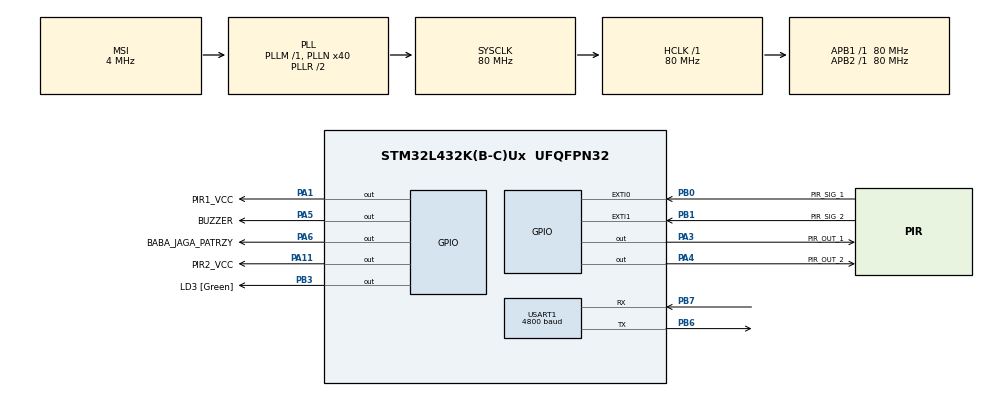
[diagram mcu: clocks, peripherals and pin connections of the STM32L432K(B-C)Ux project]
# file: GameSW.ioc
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Mcu.Family=STM32L4
Mcu.Name=STM32L432K(B-C)Ux
Mcu.Package=UFQFPN32
NVIC.EXTI0_IRQn=true\:0\:0\:false\:false\:true\:true\:true\:true
NVIC.EXTI1_IRQn=true\:0\:0\:false\:false\:true\:true\:true\:true
NVIC.PriorityGroup=NVIC_PRIORITYGROUP_4
NVIC.USART1_IRQn=true\:0\:0\:false\:false\:true\:true\:true\:true
PA0.GPIO_Label=MCO [High speed clock in]
PA0.Mode=HSE-External-Clock-Source-for-LittleOrca
PA0.Signal=RCC_CK_IN
PA1.GPIO_Label=PIR1_VCC
PA1.Signal=GPIO_Output
PA11.GPIO_Label=PIR2_VCC
PA11.Signal=GPIO_Output
PA13\ (JTMS-SWDIO).GPIO_Label=SWDIO
PA13\ (JTMS-SWDIO).Mode=Serial_Wire
PA13\ (JTMS-SWDIO).Signal=SYS_JTMS-SWDIO
PA14\ (JTCK-SWCLK).GPIO_Label=SWCLK
PA14\ (JTCK-SWCLK).Mode=Serial_Wire
PA14\ (JTCK-SWCLK).Signal=SYS_JTCK-SWCLK
PA15\ (JTDI).GPIO_Label=VCP_RX
PA15\ (JTDI).Signal=USART2_RX
PA2.GPIO_Label=VCP_TX
PA2.Signal=USART2_TX
PA3.GPIO_Label=PIR_OUT_1
PA3.Signal=GPIO_Output
PA4.GPIO_Label=PIR_OUT_2
PA4.Signal=GPIO_Output
PA5.GPIO_Label=BUZZER
PA5.Signal=GPIO_Output
PA6.GPIO_Label=BABA_JAGA_PATRZY
PA6.Signal=GPIO_Output
PB0.GPIO_Label=PIR_SIG_1
PB0.Signal=GPXTI0
PB1.GPIO_Label=PIR_SIG_2
PB1.Signal=GPXTI1
PB3\ (JTDO-TRACESWO).GPIO_Label=LD3 [Green]
PB3\ (JTDO-TRACESWO).Signal=GPIO_Output
PB6.Mode=Asynchronous
PB6.Signal=USART1_TX
PB7.Mode=Asynchronous
PB7.Signal=USART1_RX
PC14-OSC32_IN\ (PC14).Mode=LSE-External-Oscillator
PC14-OSC32_IN\ (PC14).Signal=RCC_OSC32_IN
PC15-OSC32_OUT\ (PC15).Mode=LSE-External-Oscillator
PC15-OSC32_OUT\ (PC15).Signal=RCC_OSC32_OUT
ProjectManager.HeapSize=0x200
ProjectManager.StackSize=0x400
ProjectManager.TargetToolchain=STM32CubeIDE
RCC.AHBFreq_Value=80000000
RCC.APB1Freq_Value=80000000
RCC.APB1TimFreq_Value=80000000
RCC.APB2Freq_Value=80000000
RCC.APB2TimFreq_Value=80000000
RCC.CortexFreq_Value=80000000
RCC.HCLKFreq_Value=80000000
RCC.HSE_VALUE=8000000
RCC.HSI16_VALUE=16000000
RCC.HSI48_VALUE=48000000
RCC.HSI_VALUE=16000000
RCC.MSI_VALUE=4000000
RCC.PLLMUL=RCC_PLLMUL_4
RCC.PLLN=40
RCC.SYSCLKFreq_VALUE=80000000
RCC.SYSCLKSource=RCC_SYSCLKSOURCE_PLLCLK
RCC.VCOOutputFreq_Value=160000000
USART1.BaudRate=4800
USART1.Parity=PARITY_NONE
USART1.VirtualMode-Asynchronous=VM_ASYNC
board=NUCLEO-L432KC

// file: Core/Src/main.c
/* USER CODE BEGIN Header */
/**
  ******************************************************************************
  * @file           : main.c
  * @brief          : Main program body
  ******************************************************************************
  * @attention
  *
  * Copyright (c) 2022 STMicroelectronics.
  * All rights reserved.
  *
  * This software is licensed under terms that can be found in the LICENSE file
  * in the root directory of this software component.
  * If no LICENSE file comes with this software, it is provided AS-IS.
  *
  ******************************************************************************
  */
/* USER CODE END Header */
#include "main.h"
#include "usart.h"
#include "gpio.h"

/* USER CODE BEGIN Includes */
#include "player.h"
#include "debug_settings.h"
#include "game_if.h"
#include <string.h>
/* USER CODE END Includes */

/* USER CODE BEGIN PD */
#define START ('b')
#define STOP ('c')
#define BABA_JAGA_PATRZY ('d')
#define BABA_JAGA_NIE_PATRZY ('e')
/* USER CODE END PD */

/* USER CODE BEGIN PV */
extern struct Player player_one;
extern struct Player player_two;

/* USER CODE END PV */

void SystemClock_Config(void);

/* USER CODE BEGIN 0 */
uint8_t rx;
uint8_t debug_message[15];
uint8_t message = START;
int players_movement_allowed = 1;
/* USER CODE END 0 */

int main(void)
{
  /* USER CODE BEGIN 1 */
  /* TODO */
  /* Add some mechanism to disable diodes */

  char player_one_name[BUFFOR_MAX_SIZE];
  char player_two_name[BUFFOR_MAX_SIZE];

  /* TODO */
  /* Here we should anchor some mechanism to get configuration from bluetooth */

  /* TODO */
  /* For now names gonna be static - will see if we wanna send it through bluetooth */
  char debug_name_1[BUFFOR_MAX_SIZE] = {"Pawel"};
  char debug_name_2[BUFFOR_MAX_SIZE] = {"Mariusz"};
  strcpy(player_one_name, debug_name_1);
  strcpy(player_two_name, debug_name_2);
  /* USER CODE END 1 */

  /* MCU Configuration--------------------------------------------------------*/

  /* Reset of all peripherals, Initializes the Flash interface and the Systick. */
  HAL_Init();

  /* Configure the system clock */
  SystemClock_Config();

  /* Initialize all configured peripherals */
  MX_GPIO_Init();
  MX_USART1_UART_Init();
  /* USER CODE BEGIN 2 */

  HAL_UART_Receive_IT(&huart1, &rx, 1);
  /* USER CODE END 2 */

  /* Infinite loop */
  /* USER CODE BEGIN WHILE */
  while (1)
  {
	  switch (message)
	  {
	  case START:
		  game_init(player_one_name, player_two_name);
		  players_movement_allowed = 1;
		  message = 0x00;
		  message = BABA_JAGA_NIE_PATRZY;
		  break;
	  case STOP:
		  end_game();
		  message = 0x00;
		  break;
	  case BABA_JAGA_PATRZY:
		  HAL_GPIO_WritePin(PIR1_VCC_GPIO_Port, PIR1_VCC_Pin, 1);
		  HAL_GPIO_WritePin(PIR2_VCC_GPIO_Port, PIR2_VCC_Pin, 1);
		  NVIC_EnableIRQ(EXTI0_IRQn);
		  NVIC_EnableIRQ(EXTI1_IRQn);
		  HAL_GPIO_WritePin(BABA_JAGA_PATRZY_GPIO_Port, BABA_JAGA_PATRZY_Pin, 1);
		  players_movement_allowed = 0;
		  message = 0x00;
		  break;
	  case BABA_JAGA_NIE_PATRZY:
		  HAL_GPIO_WritePin(PIR1_VCC_GPIO_Port, PIR1_VCC_Pin, 0);
		  HAL_GPIO_WritePin(PIR2_VCC_GPIO_Port, PIR2_VCC_Pin, 0);
		  NVIC_DisableIRQ(EXTI0_IRQn);
		  NVIC_DisableIRQ(EXTI1_IRQn);
		  HAL_GPIO_WritePin(BABA_JAGA_PATRZY_GPIO_Port, BABA_JAGA_PATRZY_Pin, 0);
		  players_movement_allowed = 1;
		  message = 0x00;
		  break;
	  default: ;
		  break;
	  }
	  if (players_movement_allowed == 0)
	  {
		  if (player_one.score == 1)
		  {
			  // Player 1 wins
			  HAL_GPIO_TogglePin(PIR_OUT_1_GPIO_Port, PIR_OUT_1_Pin);
			  HAL_GPIO_WritePin(BUZZER_GPIO_Port, BUZZER_Pin, 1);
			  end_game();
			 }
		  else if (player_two.score == 1)
		  {
			  // Player 2 wins
			  HAL_GPIO_TogglePin(PIR_OUT_2_GPIO_Port, PIR_OUT_2_Pin);
			  HAL_GPIO_WritePin(BUZZER_GPIO_Port, BUZZER_Pin, 1);
			  end_game();
		  }
	  }
    /* USER CODE END WHILE */

  }
}

void SystemClock_Config(void)
{
  RCC_OscInitTypeDef RCC_OscInitStruct = {0};
  RCC_ClkInitTypeDef RCC_ClkInitStruct = {0};

  /** Configure the main internal regulator output voltage
  */
  if (HAL_PWREx_ControlVoltageScaling(PWR_REGULATOR_VOLTAGE_SCALE1) != HAL_OK)
  {
    Error_Handler();
  }

  /** Configure LSE Drive Capability
  */
  HAL_PWR_EnableBkUpAccess();
  __HAL_RCC_LSEDRIVE_CONFIG(RCC_LSEDRIVE_LOW);

  /** Initializes the RCC Oscillators according to the specified parameters
  * in the RCC_OscInitTypeDef structure.
  */
  RCC_OscInitStruct.OscillatorType = RCC_OSCILLATORTYPE_LSE|RCC_OSCILLATORTYPE_MSI;
  RCC_OscInitStruct.LSEState = RCC_LSE_ON;
  RCC_OscInitStruct.MSIState = RCC_MSI_ON;
  RCC_OscInitStruct.MSICalibrationValue = 0;
  RCC_OscInitStruct.MSIClockRange = RCC_MSIRANGE_6;
  RCC_OscInitStruct.PLL.PLLState = RCC_PLL_ON;
  RCC_OscInitStruct.PLL.PLLSource = RCC_PLLSOURCE_MSI;
  RCC_OscInitStruct.PLL.PLLM = 1;
  RCC_OscInitStruct.PLL.PLLN = 40;
  RCC_OscInitStruct.PLL.PLLP = RCC_PLLP_DIV7;
  RCC_OscInitStruct.PLL.PLLQ = RCC_PLLQ_DIV2;
  RCC_OscInitStruct.PLL.PLLR = RCC_PLLR_DIV2;
  if (HAL_RCC_OscConfig(&RCC_OscInitStruct) != HAL_OK)
  {
    Error_Handler();
  }

  /** Initializes the CPU, AHB and APB buses clocks
  */
  RCC_ClkInitStruct.ClockType = RCC_CLOCKTYPE_HCLK|RCC_CLOCKTYPE_SYSCLK
                              |RCC_CLOCKTYPE_PCLK1|RCC_CLOCKTYPE_PCLK2;
  RCC_ClkInitStruct.SYSCLKSource = RCC_SYSCLKSOURCE_PLLCLK;
  RCC_ClkInitStruct.AHBCLKDivider = RCC_SYSCLK_DIV1;
  RCC_ClkInitStruct.APB1CLKDivider = RCC_HCLK_DIV1;
  RCC_ClkInitStruct.APB2CLKDivider = RCC_HCLK_DIV1;

  if (HAL_RCC_ClockConfig(&RCC_ClkInitStruct, FLASH_LATENCY_4) != HAL_OK)
  {
    Error_Handler();
  }

  /** Enable MSI Auto calibration
  */
  HAL_RCCEx_EnableMSIPLLMode();
}

/* USER CODE BEGIN 4 */
void HAL_UART_RxCpltCallback(UART_HandleTypeDef *huart)
{
	if (huart->Instance == USART1)
	{
		if (rx == 'e')
		{
			sprintf(debug_message, "Received e");
			HAL_GPIO_TogglePin(BABA_JAGA_PATRZY_GPIO_Port, BABA_JAGA_PATRZY_Pin);
		}
		else if (rx == 0)
		{
			sprintf(debug_message, "Received 00000");
		}
		else
		{
			sprintf(debug_message, "Received sth else");
		}
	HAL_UART_Receive_IT(&huart1, &rx, 1);
	HAL_UART_Transmit_IT(&huart1, debug_message, 15);
	}

}

void HAL_UART_TxCpltCallback(UART_HandleTypeDef *huart)
{

}

/* USER CODE END 4 */

void Error_Handler(void)
{
  __disable_irq();
  while (1)
  {
  }
}
